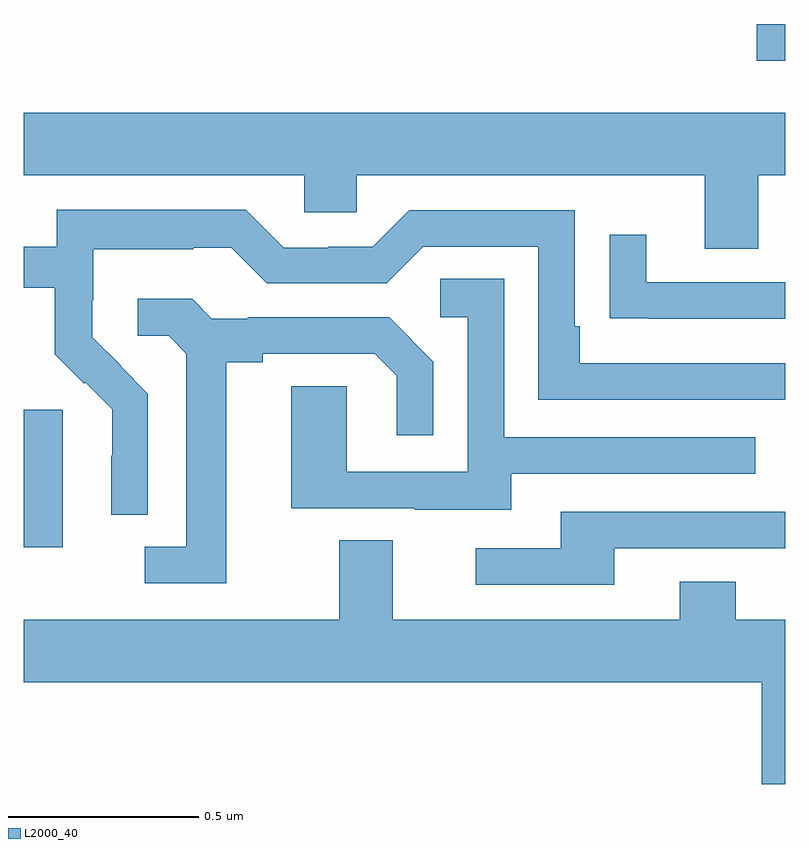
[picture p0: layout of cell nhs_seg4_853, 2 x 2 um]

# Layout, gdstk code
import gdstk
lib = gdstk.Library(unit=1e-6, precision=1e-09)
def R(c, l, rs):  # rectangles x0, y0, x1, y1
    for r in rs: c.add(gdstk.rectangle(r[:2], r[2:], *l))
def P(c, l, *ps):  # polygons
    for p in ps: c.add(gdstk.Polygon(p, *l))
L2000_40 = (2000, 40)

nhs_seg4_853 = lib.new_cell('nhs_seg4_853')
R(nhs_seg4_853, L2000_40, [(121,782.522,121.102,782.883), (122.925,783.8,123,783.897)])
P(nhs_seg4_853, L2000_40, [(122.929,783.5),(123,783.5),(123,783.664),(121,783.664),(121,783.5),(121.737,783.5),(121.737,783.402),(121.875,783.402),(121.875,783.5),(122.789,783.5),(122.789,783.306),(122.929,783.306)],
  [(121.326,782.926),(121.253,782.999),(121.254,783),(121.18,783.074),(121.18,783.171),(121.182,783.171),(121.182,783.305),(121.445,783.305),(121.445,783.309),(121.545,783.309),(121.638,783.216),(121.953,783.216),(122.049,783.312),(122.352,783.312),(122.352,782.91),(123,782.91),(123,783.006),(122.461,783.006),(122.461,783.103),(122.448,783.103),(122.448,783.408),(122.013,783.408),(121.917,783.312),(121.799,783.312),(121.799,783.309),(121.683,783.309),(121.583,783.409),(121.086,783.409),(121.086,783.312),(121,783.312),(121,783.204),(121.081,783.204),(121.081,783.029),(121.158,782.952),(121.161,782.955),(121.232,782.885),(121.232,782.762),(121.23,782.762),(121.23,782.608),(121.326,782.608)],
  [(123,783.219),(122.635,783.219),(122.635,783.343),(122.539,783.343),(122.539,783.124),(122.641,783.124),(122.641,783.123),(123,783.123)],
  [(122.281,782.715),(122.921,782.715),(122.921,782.811),(122.262,782.811),(122.262,783.227),(122.094,783.227),(122.094,783.126),(122.166,783.126),(122.166,782.721),(121.848,782.721),(121.848,782.945),(121.703,782.945),(121.703,782.625),(122.027,782.625),(122.027,782.621),(122.281,782.621)],
  [(121.531,783.008),(121.627,783.008),(121.627,783.03),(121.922,783.03),(121.979,782.973),(121.979,782.817),(122.076,782.817),(122.076,783.01),(121.96,783.126),(121.588,783.126),(121.588,783.123),(121.494,783.123),(121.442,783.175),(121.299,783.175),(121.299,783.078),(121.38,783.078),(121.427,783.031),(121.427,782.523),(121.317,782.523),(121.317,782.427),(121.531,782.427)],
  [(122.551,782.52),(123,782.52),(123,782.616),(122.411,782.616),(122.411,782.52),(122.187,782.52),(122.187,782.424),(122.551,782.424)],
  [(123,782.332),(122.871,782.332),(122.871,782.431),(122.723,782.431),(122.723,782.332),(121.969,782.332),(121.969,782.54),(121.829,782.54),(121.829,782.332),(121,782.332),(121,782.168),(122.939,782.168),(122.939,781.9),(123,781.9)])

lib.write_gds('nhs_seg4_853.gds')
